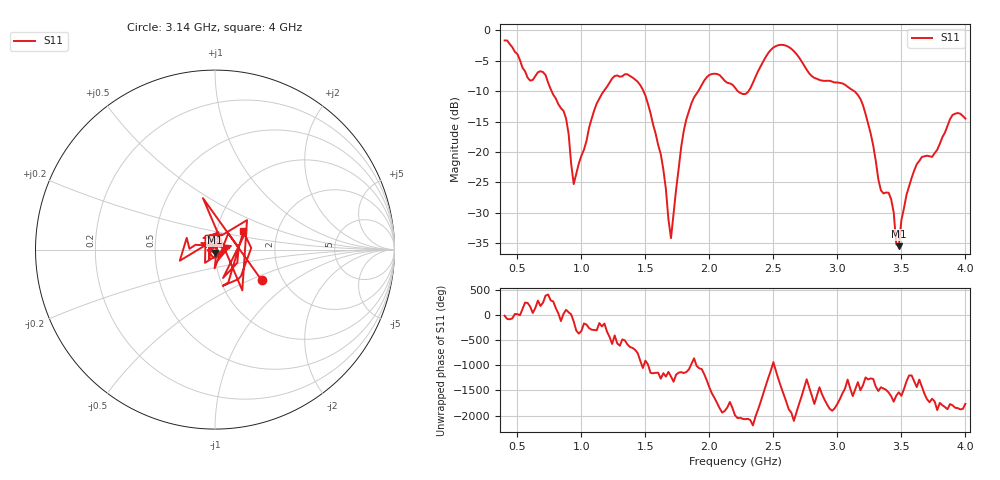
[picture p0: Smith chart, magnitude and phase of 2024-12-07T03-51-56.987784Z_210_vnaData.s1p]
!Created with skrf (http://scikit-rf.org).
# Hz S RI R 50.0
!freq ReS11 ImS11
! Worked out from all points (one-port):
!   181 points, 400 MHz to 4 GHz, reference 50 ohm
!   lowest |S11| = -35.5 dB at 3.48 GHz (marker M1), VSWR 1.03, Z = 49.7 - j1.66 ohm
!   |S11| at or under -10 dB: 767.6 MHz to 1.174 GHz (406.8 MHz wide, 41.9 % of centre); 1.485 GHz to 1.912 GHz (426.4 MHz wide, 25.1 % of centre); 3.132 GHz to end of sweep (the widest 3 of 4)
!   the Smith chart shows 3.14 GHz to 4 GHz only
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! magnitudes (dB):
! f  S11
! 400 MHz  -1.6
! 600 MHz  -8.3
! 720 MHz  -7.3
! 860 MHz  -13.2
! 900 MHz  -17.0
! 940 MHz  -25.3
! 1.12 GHz  -12.0
! 1.3 GHz  -7.6
! 1.5 GHz  -10.7
! 1.62 GHz  -20.3
! 1.7 GHz  -34.2
! 1.76 GHz  -22.7
! 1.82 GHz  -14.6
! 1.96 GHz  -8.2
! 2.2 GHz  -9.4
! 2.3 GHz  -10.2
! 2.5 GHz  -2.8
! 2.66 GHz  -3.4
! 2.82 GHz  -7.8
! 3.1 GHz  -9.6
! 3.2 GHz  -12.3
! 3.34 GHz  -26.3
! 3.42 GHz  -27.8
! 3.46 GHz  -35.2
! 3.48 GHz  -35.5
! 3.56 GHz  -25.6
! 3.9 GHz  -13.9
! 4 GHz  -14.5
